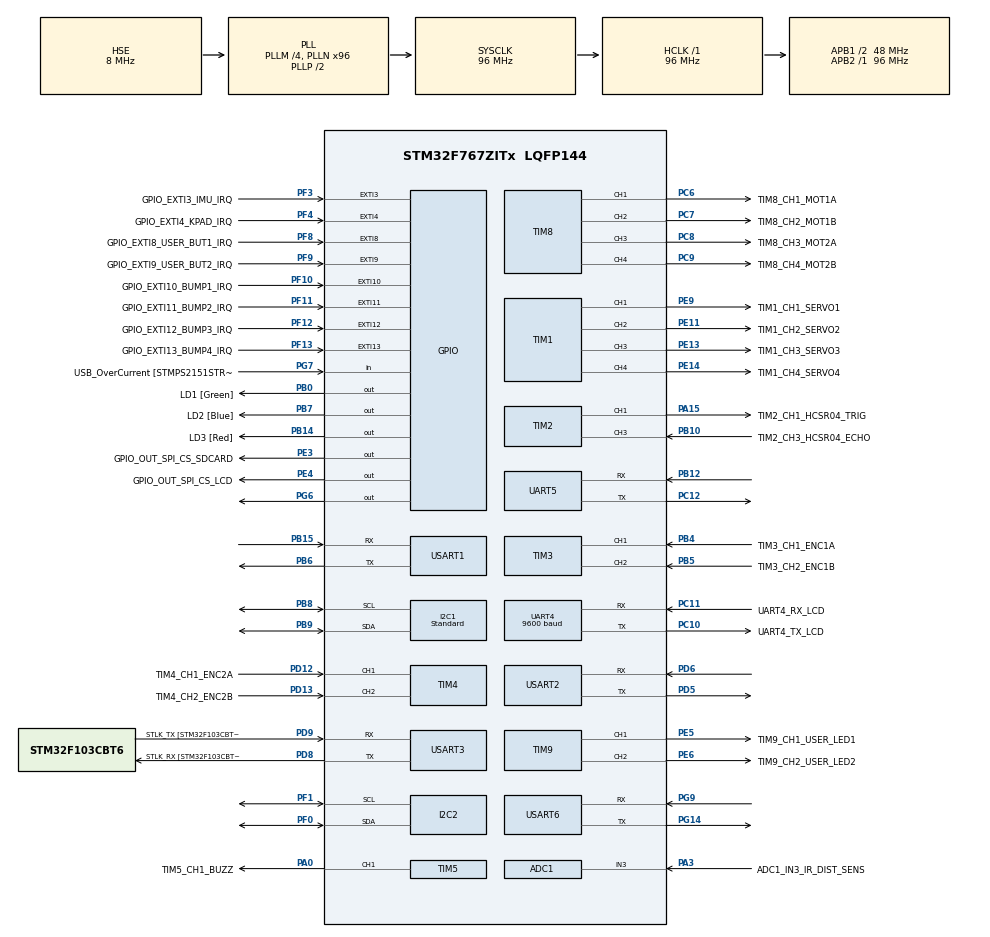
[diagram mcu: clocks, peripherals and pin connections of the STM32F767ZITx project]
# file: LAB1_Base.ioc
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ADC1.Channel-1\#ChannelRegularConversion=ADC_CHANNEL_3
ADC1.NbrOfConversionFlag=1
ADC1.Rank-1\#ChannelRegularConversion=1
ADC1.SamplingTime-1\#ChannelRegularConversion=ADC_SAMPLETIME_3CYCLES
ADC1.master=1
I2C1.I2C_Speed_Mode=I2C_Standard
I2C1.Timing=0x20303E5D
I2C2.Timing=0x20303E5D
Mcu.Family=STM32F7
Mcu.Name=STM32F767ZITx
Mcu.Package=LQFP144
Mcu.UserConstants=TIM8_PSC_VALUE,959;TIM8_ARR_VALUE,400;TIM1_PSC_VALUE,959;TIM1_ARR_VALUE,200
NVIC.EXTI4_IRQn=true\:1\:0\:true\:false\:true\:true\:true\:true
NVIC.PriorityGroup=NVIC_PRIORITYGROUP_4
PA0/WKUP.GPIO_Label=TIM5_CH1_BUZZ
PA0/WKUP.Signal=S_TIM5_CH1
PA1.GPIO_Label=RMII_REF_CLK [LAN8742A-CZ-TR_REFCLK0]
PA1.Signal=ETH_REF_CLK
PA10.GPIO_Label=USB_ID
PA10.Signal=USB_OTG_FS_ID
PA11.GPIO_Label=USB_DM
PA11.Signal=USB_OTG_FS_DM
PA12.GPIO_Label=USB_DP
PA12.Signal=USB_OTG_FS_DP
PA13.GPIO_Label=TMS
PA13.Mode=Serial_Wire
PA13.Signal=SYS_JTMS-SWDIO
PA14.GPIO_Label=TCK
PA14.Mode=Serial_Wire
PA14.Signal=SYS_JTCK-SWCLK
PA15.GPIO_Label=TIM2_CH1_HCSR04_TRIG
PA15.Signal=S_TIM2_CH1_ETR
PA2.GPIO_Label=RMII_MDIO [LAN8742A-CZ-TR_MDIO]
PA2.Signal=ETH_MDIO
PA3.GPIO_Label=ADC1_IN3_IR_DIST_SENS
PA3.Signal=ADCx_IN3
PA7.GPIO_Label=RMII_CRS_DV [LAN8742A-CZ-TR_CRS_DV]
PA7.Signal=ETH_CRS_DV
PA8.GPIO_Label=USB_SOF [TP1]
PA8.Signal=USB_OTG_FS_SOF
PA9.GPIO_Label=USB_VBUS
PA9.Signal=USB_OTG_FS_VBUS
PB0.GPIO_Label=LD1 [Green]
PB0.Signal=GPIO_Output
PB10.GPIO_Label=TIM2_CH3_HCSR04_ECHO
PB10.Signal=S_TIM2_CH3
PB12.Mode=Asynchronous
PB12.Signal=UART5_RX
PB13.GPIO_Label=RMII_TXD1 [LAN8742A-CZ-TR_TXD1]
PB13.Signal=ETH_TXD1
PB14.GPIO_Label=LD3 [Red]
PB14.Signal=GPIO_Output
PB15.Mode=Asynchronous
PB15.Signal=USART1_RX
PB3.GPIO_Label=SWO
PB3.Signal=SYS_JTDO-SWO
PB4.GPIO_Label=TIM3_CH1_ENC1A
PB4.Signal=S_TIM3_CH1
PB5.GPIO_Label=TIM3_CH2_ENC1B
PB5.Signal=S_TIM3_CH2
PB6.Mode=Asynchronous
PB6.Signal=USART1_TX
PB7.GPIO_Label=LD2 [Blue]
PB7.Signal=GPIO_Output
PB8.GPIO_Pu=GPIO_PULLUP
PB8.Mode=I2C
PB8.Signal=I2C1_SCL
PB9.GPIO_Pu=GPIO_PULLUP
PB9.Mode=I2C
PB9.Signal=I2C1_SDA
PC1.GPIO_Label=RMII_MDC [LAN8742A-CZ-TR_MDC]
PC1.Signal=ETH_MDC
PC10.GPIO_Label=UART4_TX_LCD
PC10.Mode=Asynchronous
PC10.Signal=UART4_TX
PC11.GPIO_Label=UART4_RX_LCD
PC11.Mode=Asynchronous
PC11.Signal=UART4_RX
PC12.Mode=Asynchronous
PC12.Signal=UART5_TX
PC14/OSC32_IN.Mode=LSE-External-Oscillator
PC14/OSC32_IN.Signal=RCC_OSC32_IN
PC15/OSC32_OUT.Mode=LSE-External-Oscillator
PC15/OSC32_OUT.Signal=RCC_OSC32_OUT
PC4.GPIO_Label=RMII_RXD0 [LAN8742A-CZ-TR_RXD0]
PC4.Signal=ETH_RXD0
PC5.GPIO_Label=RMII_RXD1 [LAN8742A-CZ-TR_RXD1]
PC5.Signal=ETH_RXD1
PC6.GPIO_Label=TIM8_CH1_MOT1A
PC6.Signal=S_TIM8_CH1
PC7.GPIO_Label=TIM8_CH2_MOT1B
PC7.Signal=S_TIM8_CH2
PC8.GPIO_Label=TIM8_CH3_MOT2A
PC8.Signal=S_TIM8_CH3
PC9.GPIO_Label=TIM8_CH4_MOT2B
PC9.Signal=S_TIM8_CH4
PD12.GPIO_Label=TIM4_CH1_ENC2A
PD12.Signal=S_TIM4_CH1
PD13.GPIO_Label=TIM4_CH2_ENC2B
PD13.Signal=S_TIM4_CH2
PD5.Mode=Asynchronous
PD5.Signal=USART2_TX
PD6.Mode=Asynchronous
PD6.Signal=USART2_RX
PD8.GPIO_Label=STLK_RX [STM32F103CBT6_PA3]
PD8.Mode=Asynchronous
PD8.Signal=USART3_TX
PD9.GPIO_Label=STLK_TX [STM32F103CBT6_PA2]
PD9.Mode=Asynchronous
PD9.Signal=USART3_RX
PE11.GPIO_Label=TIM1_CH2_SERVO2
PE11.Signal=S_TIM1_CH2
PE13.GPIO_Label=TIM1_CH3_SERVO3
PE13.Signal=S_TIM1_CH3
PE14.GPIO_Label=TIM1_CH4_SERVO4
PE14.Signal=S_TIM1_CH4
PE3.GPIO_Label=GPIO_OUT_SPI_CS_SDCARD
PE3.Signal=GPIO_Output
PE4.GPIO_Label=GPIO_OUT_SPI_CS_LCD
PE4.Signal=GPIO_Output
PE5.GPIO_Label=TIM9_CH1_USER_LED1
PE5.Signal=S_TIM9_CH1
PE6.GPIO_Label=TIM9_CH2_USER_LED2
PE6.Signal=S_TIM9_CH2
PE9.GPIO_Label=TIM1_CH1_SERVO1
PE9.Signal=S_TIM1_CH1
PF0.GPIO_Pu=GPIO_PULLUP
PF0.Mode=I2C
PF0.Signal=I2C2_SDA
PF1.GPIO_Pu=GPIO_PULLUP
PF1.Mode=I2C
PF1.Signal=I2C2_SCL
PF10.GPIO_Label=GPIO_EXTI10_BUMP1_IRQ
PF10.Signal=GPXTI10
PF11.GPIO_Label=GPIO_EXTI11_BUMP2_IRQ
PF11.Signal=GPXTI11
PF12.GPIO_Label=GPIO_EXTI12_BUMP3_IRQ
PF12.Signal=GPXTI12
PF13.GPIO_Label=GPIO_EXTI13_BUMP4_IRQ
PF13.Signal=GPXTI13
PF3.GPIO_Label=GPIO_EXTI3_IMU_IRQ
PF3.Signal=GPXTI3
PF4.GPIO_Label=GPIO_EXTI4_KPAD_IRQ
PF4.GPIO_ModeDefaultEXTI=GPIO_MODE_IT_FALLING
PF4.Signal=GPXTI4
PF8.GPIO_Label=GPIO_EXTI8_USER_BUT1_IRQ
PF8.Signal=GPXTI8
PF9.GPIO_Label=GPIO_EXTI9_USER_BUT2_IRQ
PF9.Signal=GPXTI9
PG11.GPIO_Label=RMII_TX_EN [LAN8742A-CZ-TR_TXEN]
PG11.Signal=ETH_TX_EN
PG13.GPIO_Label=RMII_TXD0 [LAN8742A-CZ-TR_TXD0]
PG13.Signal=ETH_TXD0
PG14.Mode=Asynchronous
PG14.Signal=USART6_TX
PG6.Signal=GPIO_Output
PG7.GPIO_Label=USB_OverCurrent [STMPS2151STR_FAULT]
PG7.Signal=GPIO_Input
PG9.Mode=Asynchronous
PG9.Signal=USART6_RX
PH0/OSC_IN.GPIO_Label=MCO [STM32F103CBT6_PA8]
PH0/OSC_IN.Mode=HSE-External-Clock-Source
PH0/OSC_IN.Signal=RCC_OSC_IN
PH1/OSC_OUT.Mode=HSE-External-Clock-Source
PH1/OSC_OUT.Signal=RCC_OSC_OUT
ProjectManager.HeapSize=0x200
ProjectManager.StackSize=0x400
ProjectManager.TargetToolchain=STM32CubeIDE
RCC.48MHZClocksFreq_Value=24000000
RCC.AHBFreq_Value=96000000
RCC.APB1CLKDivider=RCC_HCLK_DIV2
RCC.APB1Freq_Value=48000000
RCC.APB1TimFreq_Value=96000000
RCC.APB2Freq_Value=96000000
RCC.APB2TimFreq_Value=96000000
RCC.CortexFreq_Value=96000000
RCC.HCLKFreq_Value=96000000
RCC.HSE_VALUE=8000000
RCC.HSI_VALUE=16000000
RCC.PLLM=4
RCC.PLLMUL=RCC_PLL_MUL9
RCC.PLLN=96
RCC.PLLQ=4
RCC.PLLSourceVirtual=RCC_PLLSOURCE_HSE
RCC.PRESCALERUSB=RCC_USBCLKSOURCE_PLL_DIV1_5
RCC.SYSCLKFreq_VALUE=96000000
RCC.SYSCLKSource=RCC_SYSCLKSOURCE_PLLCLK
RCC.SYSCLKSourceVirtual=RCC_SYSCLKSOURCE_PLLCLK
RCC.USBFreq_Value=48000000
RCC.VCOOutputFreq_Value=192000000
SH.ADCx_IN3.0=ADC1_IN3,IN3
SH.S_TIM1_CH1.0=TIM1_CH1,PWM Generation1 CH1
SH.S_TIM1_CH2.0=TIM1_CH2,PWM Generation2 CH2
SH.S_TIM1_CH3.0=TIM1_CH3,PWM Generation3 CH3
SH.S_TIM1_CH4.0=TIM1_CH4,PWM Generation4 CH4
SH.S_TIM2_CH1_ETR.0=TIM2_CH1,PWM Generation1 CH1
SH.S_TIM2_CH3.0=TIM2_CH3,Input_Capture3_from_TI3
SH.S_TIM3_CH1.0=TIM3_CH1,Encoder_Interface
SH.S_TIM3_CH2.0=TIM3_CH2,Encoder_Interface
SH.S_TIM4_CH1.0=TIM4_CH1,Encoder_Interface
SH.S_TIM4_CH2.0=TIM4_CH2,Encoder_Interface
SH.S_TIM5_CH1.0=TIM5_CH1,PWM Generation1 CH1
SH.S_TIM8_CH1.0=TIM8_CH1,PWM Generation1 CH1
SH.S_TIM8_CH2.0=TIM8_CH2,PWM Generation2 CH2
SH.S_TIM8_CH3.0=TIM8_CH3,PWM Generation3 CH3
SH.S_TIM8_CH4.0=TIM8_CH4,PWM Generation4 CH4
SH.S_TIM9_CH1.0=TIM9_CH1,PWM Generation1 CH1
SH.S_TIM9_CH2.0=TIM9_CH2,PWM Generation2 CH2
TIM1.Channel-PWM\ Generation1\ CH1=TIM_CHANNEL_1
TIM1.Channel-PWM\ Generation2\ CH2=TIM_CHANNEL_2
TIM1.Channel-PWM\ Generation3\ CH3=TIM_CHANNEL_3
TIM1.Channel-PWM\ Generation4\ CH4=TIM_CHANNEL_4
TIM1.Period=TIM1_ARR_VALUE
TIM1.Prescaler=TIM1_PSC_VALUE
TIM2.Channel-Input_Capture3_from_TI3=TIM_CHANNEL_3
TIM2.Channel-PWM\ Generation1\ CH1=TIM_CHANNEL_1
TIM5.Channel-PWM\ Generation1\ CH1=TIM_CHANNEL_1
TIM8.Channel-PWM\ Generation1\ CH1=TIM_CHANNEL_1
TIM8.Channel-PWM\ Generation2\ CH2=TIM_CHANNEL_2
TIM8.Channel-PWM\ Generation3\ CH3=TIM_CHANNEL_3
TIM8.Channel-PWM\ Generation4\ CH4=TIM_CHANNEL_4
TIM8.Period=TIM8_ARR_VALUE
TIM8.Prescaler=TIM8_PSC_VALUE
TIM9.Channel-PWM\ Generation1\ CH1=TIM_CHANNEL_1
TIM9.Channel-PWM\ Generation2\ CH2=TIM_CHANNEL_2
UART4.BaudRate=9600
USART1.VirtualMode-Asynchronous=VM_ASYNC
USART2.VirtualMode-Asynchronous=VM_ASYNC
USART3.VirtualMode-Asynchronous=VM_ASYNC
USART6.VirtualMode-Asynchronous=VM_ASYNC
VP_TIM1_VS_ClockSourceINT.Mode=Internal
VP_TIM2_VS_ClockSourceINT.Mode=Internal
VP_TIM5_VS_ClockSourceINT.Mode=Internal
VP_TIM8_VS_ClockSourceINT.Mode=Internal
board=NUCLEO-F767ZI

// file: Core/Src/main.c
/* USER CODE BEGIN Header */
/**
 ******************************************************************************
 * @file           : main.c
 * @brief          : Main program body
 ******************************************************************************
 * @attention
 *
 * <h2><center>&copy; Copyright (c) 2021 STMicroelectronics.
 * All rights reserved.</center></h2>
 *
 * This software component is licensed by ST under BSD 3-Clause license,
 * the "License"; You may not use this file except in compliance with the
 * License. You may obtain a copy of the License at:
 *                        opensource.org/licenses/BSD-3-Clause
 *
 ******************************************************************************
 */
/* USER CODE END Header */
#include "main.h"

/* USER CODE BEGIN Includes */

/*** NEEDED FOR ENABLING PRINTF ***/
#include <stdio.h>
#include <string.h>
#include "print_utils.h"

/*** NEEDED FOR COMMUNICATING WITH THE SX1509 ***/
#include "SX1509_Registers.h"
#include "SX1509_Utils.h"
/* USER CODE END Includes */

ADC_HandleTypeDef hadc1;

I2C_HandleTypeDef hi2c1;
I2C_HandleTypeDef hi2c2;

TIM_HandleTypeDef htim1;
TIM_HandleTypeDef htim2;
TIM_HandleTypeDef htim3;
TIM_HandleTypeDef htim4;
TIM_HandleTypeDef htim5;
TIM_HandleTypeDef htim8;
TIM_HandleTypeDef htim9;

UART_HandleTypeDef huart4;
UART_HandleTypeDef huart5;
UART_HandleTypeDef huart1;
UART_HandleTypeDef huart2;
UART_HandleTypeDef huart3;
UART_HandleTypeDef huart6;

/* USER CODE BEGIN PV */
const char keypadLayout[4][4] = {
    {'*', '0', '#', 'D'},
    {'7', '8', '9', 'C'},
    {'4', '5', '6', 'B'},
    {'1', '2', '3', 'A'}};
/* USER CODE END PV */

void SystemClock_Config(void);
static void MX_GPIO_Init(void);
static void MX_USART3_UART_Init(void);
static void MX_ADC1_Init(void);
static void MX_I2C1_Init(void);
static void MX_I2C2_Init(void);
static void MX_TIM1_Init(void);
static void MX_TIM2_Init(void);
static void MX_TIM3_Init(void);
static void MX_TIM4_Init(void);
static void MX_TIM5_Init(void);
static void MX_TIM8_Init(void);
static void MX_UART4_Init(void);
static void MX_UART5_Init(void);
static void MX_USART1_UART_Init(void);
static void MX_USART2_UART_Init(void);
static void MX_TIM9_Init(void);
static void MX_USART6_UART_Init(void);

/* USER CODE BEGIN 0 */

uint8_t data_col;
uint8_t data_row;

void HAL_GPIO_EXTI_Callback(uint16_t GPIO_Pin)
{
	printf("Interrupt on pin (%d).\n", GPIO_Pin);

	if (GPIO_Pin == GPIO_PIN_4)
	{
    /* Keypad interrupt */
    /**
     * Here you need to read REG_KEY_DATA_1 (status of the column of the keypad) and REG_KEY_DATA_2 (status of the row of the keypad).
     * The addresses of the register are defined in the SX1509_Registers.h file.
     * If you don't read the registers, the interrupt will be NOT triggered again.
     * For an example of how to read/write the registers, see the Init_SX1509 function in the SX1509_Utils.h file.
     */
		HAL_I2C_Mem_Read(
				&hi2c1,
				SX1509_I2C_ADDR2<<1,
				REG_KEY_DATA_1,
				1,
				&data_col,
				1,
				I2C_TIMEOUT
		);

		HAL_I2C_Mem_Read(
				&hi2c1,
				SX1509_I2C_ADDR2<<1,
				REG_KEY_DATA_2,
				1,
				&data_row,
				1,
				I2C_TIMEOUT
		);
	  printf("REG_KEY_DATA_1: %u | REG_KEY_DATA_2: %u\n", data_col, data_row);
	}
	/* Cols and Rows initialization is different wrt handouts ( '*' is 254,254, diag goes from '*' to 'A')
}

/* USER CODE END 0 */

int main(void)
{

  /* MCU Configuration--------------------------------------------------------*/

  /* Reset of all peripherals, Initializes the Flash interface and the Systick. */
  HAL_Init();

  /* Configure the system clock */
  SystemClock_Config();

  /* Initialize all configured peripherals */
  MX_GPIO_Init();
  MX_USART3_UART_Init();
  MX_ADC1_Init();
  MX_I2C1_Init();
  MX_I2C2_Init();
  MX_TIM1_Init();
  MX_TIM2_Init();
  MX_TIM3_Init();
  MX_TIM4_Init();
  MX_TIM5_Init();
  MX_TIM8_Init();
  MX_UART4_Init();
  MX_UART5_Init();
  MX_USART1_UART_Init();
  MX_USART2_UART_Init();
  MX_TIM9_Init();
  MX_USART6_UART_Init();
  /* USER CODE BEGIN 2 */

  /* Disable LCD SPI SS */
  HAL_GPIO_WritePin(GPIO_OUT_SPI_CS_LCD_GPIO_Port, GPIO_OUT_SPI_CS_LCD_Pin, GPIO_PIN_SET);

  Init_SX1509();

  printf("Ready\n");

  /* USER CODE END 2 */

  /* Infinite loop */
  while (1)
  {

  }
}

void SystemClock_Config(void)
{
  RCC_OscInitTypeDef RCC_OscInitStruct = {0};
  RCC_ClkInitTypeDef RCC_ClkInitStruct = {0};

  /** Configure LSE Drive Capability
  */
  HAL_PWR_EnableBkUpAccess();

  /** Configure the main internal regulator output voltage
  */
  __HAL_RCC_PWR_CLK_ENABLE();
  __HAL_PWR_VOLTAGESCALING_CONFIG(PWR_REGULATOR_VOLTAGE_SCALE3);

  /** Initializes the RCC Oscillators according to the specified parameters
  * in the RCC_OscInitTypeDef structure.
  */
  RCC_OscInitStruct.OscillatorType = RCC_OSCILLATORTYPE_HSE;
  RCC_OscInitStruct.HSEState = RCC_HSE_BYPASS;
  RCC_OscInitStruct.PLL.PLLState = RCC_PLL_ON;
  RCC_OscInitStruct.PLL.PLLSource = RCC_PLLSOURCE_HSE;
  RCC_OscInitStruct.PLL.PLLM = 4;
  RCC_OscInitStruct.PLL.PLLN = 96;
  RCC_OscInitStruct.PLL.PLLP = RCC_PLLP_DIV2;
  RCC_OscInitStruct.PLL.PLLQ = 4;
  RCC_OscInitStruct.PLL.PLLR = 2;
  if (HAL_RCC_OscConfig(&RCC_OscInitStruct) != HAL_OK)
  {
    Error_Handler();
  }

  /** Activate the Over-Drive mode
  */
  if (HAL_PWREx_EnableOverDrive() != HAL_OK)
  {
    Error_Handler();
  }

  /** Initializes the CPU, AHB and APB buses clocks
  */
  RCC_ClkInitStruct.ClockType = RCC_CLOCKTYPE_HCLK|RCC_CLOCKTYPE_SYSCLK
                              |RCC_CLOCKTYPE_PCLK1|RCC_CLOCKTYPE_PCLK2;
  RCC_ClkInitStruct.SYSCLKSource = RCC_SYSCLKSOURCE_PLLCLK;
  RCC_ClkInitStruct.AHBCLKDivider = RCC_SYSCLK_DIV1;
  RCC_ClkInitStruct.APB1CLKDivider = RCC_HCLK_DIV2;
  RCC_ClkInitStruct.APB2CLKDivider = RCC_HCLK_DIV1;

  if (HAL_RCC_ClockConfig(&RCC_ClkInitStruct, FLASH_LATENCY_3) != HAL_OK)
  {
    Error_Handler();
  }
}

static void MX_ADC1_Init(void)
{

  ADC_ChannelConfTypeDef sConfig = {0};

  /** Configure the global features of the ADC (Clock, Resolution, Data Alignment and number of conversion)
  */
  hadc1.Instance = ADC1;
  hadc1.Init.ClockPrescaler = ADC_CLOCK_SYNC_PCLK_DIV4;
  hadc1.Init.Resolution = ADC_RESOLUTION_12B;
  hadc1.Init.ScanConvMode = ADC_SCAN_DISABLE;
  hadc1.Init.ContinuousConvMode = DISABLE;
  hadc1.Init.DiscontinuousConvMode = DISABLE;
  hadc1.Init.ExternalTrigConvEdge = ADC_EXTERNALTRIGCONVEDGE_NONE;
  hadc1.Init.ExternalTrigConv = ADC_SOFTWARE_START;
  hadc1.Init.DataAlign = ADC_DATAALIGN_RIGHT;
  hadc1.Init.NbrOfConversion = 1;
  hadc1.Init.DMAContinuousRequests = DISABLE;
  hadc1.Init.EOCSelection = ADC_EOC_SINGLE_CONV;
  if (HAL_ADC_Init(&hadc1) != HAL_OK)
  {
    Error_Handler();
  }

  /** Configure for the selected ADC regular channel its corresponding rank in the sequencer and its sample time.
  */
  sConfig.Channel = ADC_CHANNEL_3;
  sConfig.Rank = ADC_REGULAR_RANK_1;
  sConfig.SamplingTime = ADC_SAMPLETIME_3CYCLES;
  if (HAL_ADC_ConfigChannel(&hadc1, &sConfig) != HAL_OK)
  {
    Error_Handler();
  }

}

static void MX_I2C1_Init(void)
{

  hi2c1.Instance = I2C1;
  hi2c1.Init.Timing = 0x20303E5D;
  hi2c1.Init.OwnAddress1 = 0;
  hi2c1.Init.AddressingMode = I2C_ADDRESSINGMODE_7BIT;
  hi2c1.Init.DualAddressMode = I2C_DUALADDRESS_DISABLE;
  hi2c1.Init.OwnAddress2 = 0;
  hi2c1.Init.OwnAddress2Masks = I2C_OA2_NOMASK;
  hi2c1.Init.GeneralCallMode = I2C_GENERALCALL_DISABLE;
  hi2c1.Init.NoStretchMode = I2C_NOSTRETCH_DISABLE;
  if (HAL_I2C_Init(&hi2c1) != HAL_OK)
  {
    Error_Handler();
  }

  /** Configure Analogue filter
  */
  if (HAL_I2CEx_ConfigAnalogFilter(&hi2c1, I2C_ANALOGFILTER_ENABLE) != HAL_OK)
  {
    Error_Handler();
  }

  /** Configure Digital filter
  */
  if (HAL_I2CEx_ConfigDigitalFilter(&hi2c1, 0) != HAL_OK)
  {
    Error_Handler();
  }

}

static void MX_I2C2_Init(void)
{

  hi2c2.Instance = I2C2;
  hi2c2.Init.Timing = 0x20303E5D;
  hi2c2.Init.OwnAddress1 = 0;
  hi2c2.Init.AddressingMode = I2C_ADDRESSINGMODE_7BIT;
  hi2c2.Init.DualAddressMode = I2C_DUALADDRESS_DISABLE;
  hi2c2.Init.OwnAddress2 = 0;
  hi2c2.Init.OwnAddress2Masks = I2C_OA2_NOMASK;
  hi2c2.Init.GeneralCallMode = I2C_GENERALCALL_DISABLE;
  hi2c2.Init.NoStretchMode = I2C_NOSTRETCH_DISABLE;
  if (HAL_I2C_Init(&hi2c2) != HAL_OK)
  {
    Error_Handler();
  }

  /** Configure Analogue filter
  */
  if (HAL_I2CEx_ConfigAnalogFilter(&hi2c2, I2C_ANALOGFILTER_ENABLE) != HAL_OK)
  {
    Error_Handler();
  }

  /** Configure Digital filter
  */
  if (HAL_I2CEx_ConfigDigitalFilter(&hi2c2, 0) != HAL_OK)
  {
    Error_Handler();
  }

}

static void MX_TIM1_Init(void)
{

  TIM_ClockConfigTypeDef sClockSourceConfig = {0};
  TIM_MasterConfigTypeDef sMasterConfig = {0};
  TIM_OC_InitTypeDef sConfigOC = {0};
  TIM_BreakDeadTimeConfigTypeDef sBreakDeadTimeConfig = {0};

  htim1.Instance = TIM1;
  htim1.Init.Prescaler = TIM1_PSC_VALUE;
  htim1.Init.CounterMode = TIM_COUNTERMODE_UP;
  htim1.Init.Period = TIM1_ARR_VALUE;
  htim1.Init.ClockDivision = TIM_CLOCKDIVISION_DIV1;
  htim1.Init.RepetitionCounter = 0;
  htim1.Init.AutoReloadPreload = TIM_AUTORELOAD_PRELOAD_DISABLE;
  if (HAL_TIM_Base_Init(&htim1) != HAL_OK)
  {
    Error_Handler();
  }
  sClockSourceConfig.ClockSource = TIM_CLOCKSOURCE_INTERNAL;
  if (HAL_TIM_ConfigClockSource(&htim1, &sClockSourceConfig) != HAL_OK)
  {
    Error_Handler();
  }
  if (HAL_TIM_PWM_Init(&htim1) != HAL_OK)
  {
    Error_Handler();
  }
  sMasterConfig.MasterOutputTrigger = TIM_TRGO_RESET;
  sMasterConfig.MasterOutputTrigger2 = TIM_TRGO2_RESET;
  sMasterConfig.MasterSlaveMode = TIM_MASTERSLAVEMODE_DISABLE;
  if (HAL_TIMEx_MasterConfigSynchronization(&htim1, &sMasterConfig) != HAL_OK)
  {
    Error_Handler();
  }
  sConfigOC.OCMode = TIM_OCMODE_PWM1;
  sConfigOC.Pulse = 0;
  sConfigOC.OCPolarity = TIM_OCPOLARITY_HIGH;
  sConfigOC.OCNPolarity = TIM_OCNPOLARITY_HIGH;
  sConfigOC.OCFastMode = TIM_OCFAST_DISABLE;
  sConfigOC.OCIdleState = TIM_OCIDLESTATE_RESET;
  sConfigOC.OCNIdleState = TIM_OCNIDLESTATE_RESET;
  if (HAL_TIM_PWM_ConfigChannel(&htim1, &sConfigOC, TIM_CHANNEL_1) != HAL_OK)
  {
    Error_Handler();
  }
  if (HAL_TIM_PWM_ConfigChannel(&htim1, &sConfigOC, TIM_CHANNEL_2) != HAL_OK)
  {
    Error_Handler();
  }
  if (HAL_TIM_PWM_ConfigChannel(&htim1, &sConfigOC, TIM_CHANNEL_3) != HAL_OK)
  {
    Error_Handler();
  }
  if (HAL_TIM_PWM_ConfigChannel(&htim1, &sConfigOC, TIM_CHANNEL_4) != HAL_OK)
  {
    Error_Handler();
  }
  sBreakDeadTimeConfig.OffStateRunMode = TIM_OSSR_DISABLE;
  sBreakDeadTimeConfig.OffStateIDLEMode = TIM_OSSI_DISABLE;
  sBreakDeadTimeConfig.LockLevel = TIM_LOCKLEVEL_OFF;
  sBreakDeadTimeConfig.DeadTime = 0;
  sBreakDeadTimeConfig.BreakState = TIM_BREAK_DISABLE;
  sBreakDeadTimeConfig.BreakPolarity = TIM_BREAKPOLARITY_HIGH;
  sBreakDeadTimeConfig.BreakFilter = 0;
  sBreakDeadTimeConfig.Break2State = TIM_BREAK2_DISABLE;
  sBreakDeadTimeConfig.Break2Polarity = TIM_BREAK2POLARITY_HIGH;
  sBreakDeadTimeConfig.Break2Filter = 0;
  sBreakDeadTimeConfig.AutomaticOutput = TIM_AUTOMATICOUTPUT_DISABLE;
  if (HAL_TIMEx_ConfigBreakDeadTime(&htim1, &sBreakDeadTimeConfig) != HAL_OK)
  {
    Error_Handler();
  }
  HAL_TIM_MspPostInit(&htim1);

}

static void MX_TIM2_Init(void)
{

  TIM_ClockConfigTypeDef sClockSourceConfig = {0};
  TIM_MasterConfigTypeDef sMasterConfig = {0};
  TIM_OC_InitTypeDef sConfigOC = {0};
  TIM_IC_InitTypeDef sConfigIC = {0};

  htim2.Instance = TIM2;
  htim2.Init.Prescaler = 0;
  htim2.Init.CounterMode = TIM_COUNTERMODE_UP;
  htim2.Init.Period = 4294967295;
  htim2.Init.ClockDivision = TIM_CLOCKDIVISION_DIV1;
  htim2.Init.AutoReloadPreload = TIM_AUTORELOAD_PRELOAD_DISABLE;
  if (HAL_TIM_Base_Init(&htim2) != HAL_OK)
  {
    Error_Handler();
  }
  sClockSourceConfig.ClockSource = TIM_CLOCKSOURCE_INTERNAL;
  if (HAL_TIM_ConfigClockSource(&htim2, &sClockSourceConfig) != HAL_OK)
  {
    Error_Handler();
  }
  if (HAL_TIM_PWM_Init(&htim2) != HAL_OK)
  {
    Error_Handler();
  }
  if (HAL_TIM_IC_Init(&htim2) != HAL_OK)
  {
    Error_Handler();
  }
  sMasterConfig.MasterOutputTrigger = TIM_TRGO_RESET;
  sMasterConfig.MasterSlaveMode = TIM_MASTERSLAVEMODE_DISABLE;
  if (HAL_TIMEx_MasterConfigSynchronization(&htim2, &sMasterConfig) != HAL_OK)
  {
    Error_Handler();
  }
  sConfigOC.OCMode = TIM_OCMODE_PWM1;
  sConfigOC.Pulse = 0;
  sConfigOC.OCPolarity = TIM_OCPOLARITY_HIGH;
  sConfigOC.OCFastMode = TIM_OCFAST_DISABLE;
  if (HAL_TIM_PWM_ConfigChannel(&htim2, &sConfigOC, TIM_CHANNEL_1) != HAL_OK)
  {
    Error_Handler();
  }
  sConfigIC.ICPolarity = TIM_INPUTCHANNELPOLARITY_RISING;
  sConfigIC.ICSelection = TIM_ICSELECTION_DIRECTTI;
  sConfigIC.ICPrescaler = TIM_ICPSC_DIV1;
  sConfigIC.ICFilter = 0;
  if (HAL_TIM_IC_ConfigChannel(&htim2, &sConfigIC, TIM_CHANNEL_3) != HAL_OK)
  {
    Error_Handler();
  }
  HAL_TIM_MspPostInit(&htim2);

}

static void MX_TIM3_Init(void)
{

  TIM_Encoder_InitTypeDef sConfig = {0};
  TIM_MasterConfigTypeDef sMasterConfig = {0};

  htim3.Instance = TIM3;
  htim3.Init.Prescaler = 0;
  htim3.Init.CounterMode = TIM_COUNTERMODE_UP;
  htim3.Init.Period = 65535;
  htim3.Init.ClockDivision = TIM_CLOCKDIVISION_DIV1;
  htim3.Init.AutoReloadPreload = TIM_AUTORELOAD_PRELOAD_DISABLE;
  sConfig.EncoderMode = TIM_ENCODERMODE_TI1;
  sConfig.IC1Polarity = TIM_ICPOLARITY_RISING;
  sConfig.IC1Selection = TIM_ICSELECTION_DIRECTTI;
  sConfig.IC1Prescaler = TIM_ICPSC_DIV1;
  sConfig.IC1Filter = 0;
  sConfig.IC2Polarity = TIM_ICPOLARITY_RISING;
  sConfig.IC2Selection = TIM_ICSELECTION_DIRECTTI;
  sConfig.IC2Prescaler = TIM_ICPSC_DIV1;
  sConfig.IC2Filter = 0;
  if (HAL_TIM_Encoder_Init(&htim3, &sConfig) != HAL_OK)
  {
    Error_Handler();
  }
  sMasterConfig.MasterOutputTrigger = TIM_TRGO_RESET;
  sMasterConfig.MasterSlaveMode = TIM_MASTERSLAVEMODE_DISABLE;
  if (HAL_TIMEx_MasterConfigSynchronization(&htim3, &sMasterConfig) != HAL_OK)
  {
    Error_Handler();
  }

}

static void MX_TIM4_Init(void)
{

  TIM_Encoder_InitTypeDef sConfig = {0};
  TIM_MasterConfigTypeDef sMasterConfig = {0};

  htim4.Instance = TIM4;
  htim4.Init.Prescaler = 0;
  htim4.Init.CounterMode = TIM_COUNTERMODE_UP;
  htim4.Init.Period = 65535;
  htim4.Init.ClockDivision = TIM_CLOCKDIVISION_DIV1;
  htim4.Init.AutoReloadPreload = TIM_AUTORELOAD_PRELOAD_DISABLE;
  sConfig.EncoderMode = TIM_ENCODERMODE_TI1;
  sConfig.IC1Polarity = TIM_ICPOLARITY_RISING;
  sConfig.IC1Selection = TIM_ICSELECTION_DIRECTTI;
  sConfig.IC1Prescaler = TIM_ICPSC_DIV1;
  sConfig.IC1Filter = 0;
  sConfig.IC2Polarity = TIM_ICPOLARITY_RISING;
  sConfig.IC2Selection = TIM_ICSELECTION_DIRECTTI;
  sConfig.IC2Prescaler = TIM_ICPSC_DIV1;
  sConfig.IC2Filter = 0;
  if (HAL_TIM_Encoder_Init(&htim4, &sConfig) != HAL_OK)
  {
    Error_Handler();
  }
  sMasterConfig.MasterOutputTrigger = TIM_TRGO_RESET;
  sMasterConfig.MasterSlaveMode = TIM_MASTERSLAVEMODE_DISABLE;
  if (HAL_TIMEx_MasterConfigSynchronization(&htim4, &sMasterConfig) != HAL_OK)
  {
    Error_Handler();
  }

}

static void MX_TIM5_Init(void)
{

  TIM_ClockConfigTypeDef sClockSourceConfig = {0};
  TIM_MasterConfigTypeDef sMasterConfig = {0};
  TIM_OC_InitTypeDef sConfigOC = {0};

  htim5.Instance = TIM5;
  htim5.Init.Prescaler = 0;
  htim5.Init.CounterMode = TIM_COUNTERMODE_UP;
  htim5.Init.Period = 4294967295;
  htim5.Init.ClockDivision = TIM_CLOCKDIVISION_DIV1;
  htim5.Init.AutoReloadPreload = TIM_AUTORELOAD_PRELOAD_DISABLE;
  if (HAL_TIM_Base_Init(&htim5) != HAL_OK)
  {
    Error_Handler();
  }
  sClockSourceConfig.ClockSource = TIM_CLOCKSOURCE_INTERNAL;
  if (HAL_TIM_ConfigClockSource(&htim5, &sClockSourceConfig) != HAL_OK)
  {
    Error_Handler();
  }
  if (HAL_TIM_PWM_Init(&htim5) != HAL_OK)
  {
    Error_Handler();
  }
  sMasterConfig.MasterOutputTrigger = TIM_TRGO_RESET;
  sMasterConfig.MasterSlaveMode = TIM_MASTERSLAVEMODE_DISABLE;
  if (HAL_TIMEx_MasterConfigSynchronization(&htim5, &sMasterConfig) != HAL_OK)
  {
    Error_Handler();
  }
  sConfigOC.OCMode = TIM_OCMODE_PWM1;
  sConfigOC.Pulse = 0;
  sConfigOC.OCPolarity = TIM_OCPOLARITY_HIGH;
  sConfigOC.OCFastMode = TIM_OCFAST_DISABLE;
  if (HAL_TIM_PWM_ConfigChannel(&htim5, &sConfigOC, TIM_CHANNEL_1) != HAL_OK)
  {
    Error_Handler();
  }
  HAL_TIM_MspPostInit(&htim5);

}

static void MX_TIM8_Init(void)
{

  TIM_ClockConfigTypeDef sClockSourceConfig = {0};
  TIM_MasterConfigTypeDef sMasterConfig = {0};
  TIM_OC_InitTypeDef sConfigOC = {0};
  TIM_BreakDeadTimeConfigTypeDef sBreakDeadTimeConfig = {0};

  htim8.Instance = TIM8;
  htim8.Init.Prescaler = TIM8_PSC_VALUE;
  htim8.Init.CounterMode = TIM_COUNTERMODE_UP;
  htim8.Init.Period = TIM8_ARR_VALUE;
  htim8.Init.ClockDivision = TIM_CLOCKDIVISION_DIV1;
  htim8.Init.RepetitionCounter = 0;
  htim8.Init.AutoReloadPreload = TIM_AUTORELOAD_PRELOAD_DISABLE;
  if (HAL_TIM_Base_Init(&htim8) != HAL_OK)
  {
    Error_Handler();
  }
  sClockSourceConfig.ClockSource = TIM_CLOCKSOURCE_INTERNAL;
  if (HAL_TIM_ConfigClockSource(&htim8, &sClockSourceConfig) != HAL_OK)
  {
    Error_Handler();
  }
  if (HAL_TIM_PWM_Init(&htim8) != HAL_OK)
  {
    Error_Handler();
  }
  sMasterConfig.MasterOutputTrigger = TIM_TRGO_RESET;
  sMasterConfig.MasterOutputTrigger2 = TIM_TRGO2_RESET;
  sMasterConfig.MasterSlaveMode = TIM_MASTERSLAVEMODE_DISABLE;
  if (HAL_TIMEx_MasterConfigSynchronization(&htim8, &sMasterConfig) != HAL_OK)
  {
    Error_Handler();
  }
  sConfigOC.OCMode = TIM_OCMODE_PWM1;
  sConfigOC.Pulse = 0;
  sConfigOC.OCPolarity = TIM_OCPOLARITY_HIGH;
  sConfigOC.OCNPolarity = TIM_OCNPOLARITY_HIGH;
  sConfigOC.OCFastMode = TIM_OCFAST_DISABLE;
  sConfigOC.OCIdleState = TIM_OCIDLESTATE_RESET;
  sConfigOC.OCNIdleState = TIM_OCNIDLESTATE_RESET;
  if (HAL_TIM_PWM_ConfigChannel(&htim8, &sConfigOC, TIM_CHANNEL_1) != HAL_OK)
  {
    Error_Handler();
  }
  if (HAL_TIM_PWM_ConfigChannel(&htim8, &sConfigOC, TIM_CHANNEL_2) != HAL_OK)
  {
    Error_Handler();
  }
  if (HAL_TIM_PWM_ConfigChannel(&htim8, &sConfigOC, TIM_CHANNEL_3) != HAL_OK)
  {
    Error_Handler();
  }
  if (HAL_TIM_PWM_ConfigChannel(&htim8, &sConfigOC, TIM_CHANNEL_4) != HAL_OK)
  {
    Error_Handler();
  }
  sBreakDeadTimeConfig.OffStateRunMode = TIM_OSSR_DISABLE;
  sBreakDeadTimeConfig.OffStateIDLEMode = TIM_OSSI_DISABLE;
  sBreakDeadTimeConfig.LockLevel = TIM_LOCKLEVEL_OFF;
  sBreakDeadTimeConfig.DeadTime = 0;
  sBreakDeadTimeConfig.BreakState = TIM_BREAK_DISABLE;
  sBreakDeadTimeConfig.BreakPolarity = TIM_BREAKPOLARITY_HIGH;
  sBreakDeadTimeConfig.BreakFilter = 0;
  sBreakDeadTimeConfig.Break2State = TIM_BREAK2_DISABLE;
  sBreakDeadTimeConfig.Break2Polarity = TIM_BREAK2POLARITY_HIGH;
  sBreakDeadTimeConfig.Break2Filter = 0;
  sBreakDeadTimeConfig.AutomaticOutput = TIM_AUTOMATICOUTPUT_DISABLE;
  if (HAL_TIMEx_ConfigBreakDeadTime(&htim8, &sBreakDeadTimeConfig) != HAL_OK)
  {
    Error_Handler();
  }
  HAL_TIM_MspPostInit(&htim8);

}

static void MX_TIM9_Init(void)
{

  TIM_OC_InitTypeDef sConfigOC = {0};

  htim9.Instance = TIM9;
  htim9.Init.Prescaler = 0;
  htim9.Init.CounterMode = TIM_COUNTERMODE_UP;
  htim9.Init.Period = 65535;
  htim9.Init.ClockDivision = TIM_CLOCKDIVISION_DIV1;
  htim9.Init.AutoReloadPreload = TIM_AUTORELOAD_PRELOAD_DISABLE;
  if (HAL_TIM_PWM_Init(&htim9) != HAL_OK)
  {
    Error_Handler();
  }
  sConfigOC.OCMode = TIM_OCMODE_PWM1;
  sConfigOC.Pulse = 0;
  sConfigOC.OCPolarity = TIM_OCPOLARITY_HIGH;
  sConfigOC.OCFastMode = TIM_OCFAST_DISABLE;
  if (HAL_TIM_PWM_ConfigChannel(&htim9, &sConfigOC, TIM_CHANNEL_1) != HAL_OK)
  {
    Error_Handler();
  }
  if (HAL_TIM_PWM_ConfigChannel(&htim9, &sConfigOC, TIM_CHANNEL_2) != HAL_OK)
  {
    Error_Handler();
  }
  HAL_TIM_MspPostInit(&htim9);

}

static void MX_UART4_Init(void)
{

  huart4.Instance = UART4;
  huart4.Init.BaudRate = 9600;
  huart4.Init.WordLength = UART_WORDLENGTH_8B;
  huart4.Init.StopBits = UART_STOPBITS_1;
  huart4.Init.Parity = UART_PARITY_NONE;
  huart4.Init.Mode = UART_MODE_TX_RX;
  huart4.Init.HwFlowCtl = UART_HWCONTROL_NONE;
  huart4.Init.OverSampling = UART_OVERSAMPLING_16;
  huart4.Init.OneBitSampling = UART_ONE_BIT_SAMPLE_DISABLE;
  huart4.AdvancedInit.AdvFeatureInit = UART_ADVFEATURE_NO_INIT;
  if (HAL_UART_Init(&huart4) != HAL_OK)
  {
    Error_Handler();
  }

}

static void MX_UART5_Init(void)
{

  huart5.Instance = UART5;
  huart5.Init.BaudRate = 115200;
  huart5.Init.WordLength = UART_WORDLENGTH_8B;
  huart5.Init.StopBits = UART_STOPBITS_1;
  huart5.Init.Parity = UART_PARITY_NONE;
  huart5.Init.Mode = UART_MODE_TX_RX;
  huart5.Init.HwFlowCtl = UART_HWCONTROL_NONE;
  huart5.Init.OverSampling = UART_OVERSAMPLING_16;
  huart5.Init.OneBitSampling = UART_ONE_BIT_SAMPLE_DISABLE;
  huart5.AdvancedInit.AdvFeatureInit = UART_ADVFEATURE_NO_INIT;
  if (HAL_UART_Init(&huart5) != HAL_OK)
  {
    Error_Handler();
  }

}

static void MX_USART1_UART_Init(void)
{

  huart1.Instance = USART1;
  huart1.Init.BaudRate = 115200;
  huart1.Init.WordLength = UART_WORDLENGTH_8B;
  huart1.Init.StopBits = UART_STOPBITS_1;
  huart1.Init.Parity = UART_PARITY_NONE;
  huart1.Init.Mode = UART_MODE_TX_RX;
  huart1.Init.HwFlowCtl = UART_HWCONTROL_NONE;
  huart1.Init.OverSampling = UART_OVERSAMPLING_16;
  huart1.Init.OneBitSampling = UART_ONE_BIT_SAMPLE_DISABLE;
  huart1.AdvancedInit.AdvFeatureInit = UART_ADVFEATURE_NO_INIT;
  if (HAL_UART_Init(&huart1) != HAL_OK)
  {
    Error_Handler();
  }

}

static void MX_USART2_UART_Init(void)
{

  huart2.Instance = USART2;
  huart2.Init.BaudRate = 115200;
  huart2.Init.WordLength = UART_WORDLENGTH_8B;
  huart2.Init.StopBits = UART_STOPBITS_1;
  huart2.Init.Parity = UART_PARITY_NONE;
  huart2.Init.Mode = UART_MODE_TX_RX;
  huart2.Init.HwFlowCtl = UART_HWCONTROL_NONE;
  huart2.Init.OverSampling = UART_OVERSAMPLING_16;
  huart2.Init.OneBitSampling = UART_ONE_BIT_SAMPLE_DISABLE;
  huart2.AdvancedInit.AdvFeatureInit = UART_ADVFEATURE_NO_INIT;
  if (HAL_UART_Init(&huart2) != HAL_OK)
  {
    Error_Handler();
  }

}

static void MX_USART3_UART_Init(void)
{

  huart3.Instance = USART3;
  huart3.Init.BaudRate = 115200;
  huart3.Init.WordLength = UART_WORDLENGTH_8B;
  huart3.Init.StopBits = UART_STOPBITS_1;
  huart3.Init.Parity = UART_PARITY_NONE;
  huart3.Init.Mode = UART_MODE_TX_RX;
  huart3.Init.HwFlowCtl = UART_HWCONTROL_NONE;
  huart3.Init.OverSampling = UART_OVERSAMPLING_16;
  huart3.Init.OneBitSampling = UART_ONE_BIT_SAMPLE_DISABLE;
  huart3.AdvancedInit.AdvFeatureInit = UART_ADVFEATURE_NO_INIT;
  if (HAL_UART_Init(&huart3) != HAL_OK)
  {
    Error_Handler();
  }

}

static void MX_USART6_UART_Init(void)
{

  huart6.Instance = USART6;
  huart6.Init.BaudRate = 115200;
  huart6.Init.WordLength = UART_WORDLENGTH_8B;
  huart6.Init.StopBits = UART_STOPBITS_1;
  huart6.Init.Parity = UART_PARITY_NONE;
  huart6.Init.Mode = UART_MODE_TX_RX;
  huart6.Init.HwFlowCtl = UART_HWCONTROL_NONE;
  huart6.Init.OverSampling = UART_OVERSAMPLING_16;
  huart6.Init.OneBitSampling = UART_ONE_BIT_SAMPLE_DISABLE;
  huart6.AdvancedInit.AdvFeatureInit = UART_ADVFEATURE_NO_INIT;
  if (HAL_UART_Init(&huart6) != HAL_OK)
  {
    Error_Handler();
  }

}

static void MX_GPIO_Init(void)
{
  GPIO_InitTypeDef GPIO_InitStruct = {0};

  /* GPIO Ports Clock Enable */
  __HAL_RCC_GPIOE_CLK_ENABLE();
  __HAL_RCC_GPIOC_CLK_ENABLE();
  __HAL_RCC_GPIOF_CLK_ENABLE();
  __HAL_RCC_GPIOH_CLK_ENABLE();
  __HAL_RCC_GPIOA_CLK_ENABLE();
  __HAL_RCC_GPIOB_CLK_ENABLE();
  __HAL_RCC_GPIOD_CLK_ENABLE();
  __HAL_RCC_GPIOG_CLK_ENABLE();

  /*Configure GPIO pin Output Level */
  HAL_GPIO_WritePin(GPIOE, GPIO_OUT_SPI_CS_SDCARD_Pin|GPIO_OUT_SPI_CS_LCD_Pin, GPIO_PIN_RESET);

  /*Configure GPIO pin Output Level */
  HAL_GPIO_WritePin(GPIOB, LD1_Pin|LD3_Pin|LD2_Pin, GPIO_PIN_RESET);

  /*Configure GPIO pin Output Level */
  HAL_GPIO_WritePin(GPIOG, GPIO_PIN_6, GPIO_PIN_RESET);

  /*Configure GPIO pins : GPIO_OUT_SPI_CS_SDCARD_Pin GPIO_OUT_SPI_CS_LCD_Pin */
  GPIO_InitStruct.Pin = GPIO_OUT_SPI_CS_SDCARD_Pin|GPIO_OUT_SPI_CS_LCD_Pin;
  GPIO_InitStruct.Mode = GPIO_MODE_OUTPUT_PP;
  GPIO_InitStruct.Pull = GPIO_NOPULL;
  GPIO_InitStruct.Speed = GPIO_SPEED_FREQ_LOW;
  HAL_GPIO_Init(GPIOE, &GPIO_InitStruct);

  /*Configure GPIO pins : GPIO_EXTI3_IMU_IRQ_Pin GPIO_EXTI8_USER_BUT1_IRQ_Pin GPIO_EXTI9_USER_BUT2_IRQ_Pin GPIO_EXTI10_BUMP1_IRQ_Pin
                           GPIO_EXTI11_BUMP2_IRQ_Pin GPIO_EXTI12_BUMP3_IRQ_Pin GPIO_EXTI13_BUMP4_IRQ_Pin */
  GPIO_InitStruct.Pin = GPIO_EXTI3_IMU_IRQ_Pin|GPIO_EXTI8_USER_BUT1_IRQ_Pin|GPIO_EXTI9_USER_BUT2_IRQ_Pin|GPIO_EXTI10_BUMP1_IRQ_Pin
                          |GPIO_EXTI11_BUMP2_IRQ_Pin|GPIO_EXTI12_BUMP3_IRQ_Pin|GPIO_EXTI13_BUMP4_IRQ_Pin;
  GPIO_InitStruct.Mode = GPIO_MODE_IT_RISING;
  GPIO_InitStruct.Pull = GPIO_NOPULL;
  HAL_GPIO_Init(GPIOF, &GPIO_InitStruct);

  /*Configure GPIO pin : GPIO_EXTI4_KPAD_IRQ_Pin */
  GPIO_InitStruct.Pin = GPIO_EXTI4_KPAD_IRQ_Pin;
  GPIO_InitStruct.Mode = GPIO_MODE_IT_FALLING;
  GPIO_InitStruct.Pull = GPIO_NOPULL;
  HAL_GPIO_Init(GPIO_EXTI4_KPAD_IRQ_GPIO_Port, &GPIO_InitStruct);

  /*Configure GPIO pins : RMII_MDC_Pin RMII_RXD0_Pin RMII_RXD1_Pin */
  GPIO_InitStruct.Pin = RMII_MDC_Pin|RMII_RXD0_Pin|RMII_RXD1_Pin;
  GPIO_InitStruct.Mode = GPIO_MODE_AF_PP;
  GPIO_InitStruct.Pull = GPIO_NOPULL;
  GPIO_InitStruct.Speed = GPIO_SPEED_FREQ_VERY_HIGH;
  GPIO_InitStruct.Alternate = GPIO_AF11_ETH;
  HAL_GPIO_Init(GPIOC, &GPIO_InitStruct);

  /*Configure GPIO pins : RMII_REF_CLK_Pin RMII_MDIO_Pin RMII_CRS_DV_Pin */
  GPIO_InitStruct.Pin = RMII_REF_CLK_Pin|RMII_MDIO_Pin|RMII_CRS_DV_Pin;
  GPIO_InitStruct.Mode = GPIO_MODE_AF_PP;
  GPIO_InitStruct.Pull = GPIO_NOPULL;
  GPIO_InitStruct.Speed = GPIO_SPEED_FREQ_VERY_HIGH;
  GPIO_InitStruct.Alternate = GPIO_AF11_ETH;
  HAL_GPIO_Init(GPIOA, &GPIO_InitStruct);

  /*Configure GPIO pins : LD1_Pin LD3_Pin LD2_Pin */
  GPIO_InitStruct.Pin = LD1_Pin|LD3_Pin|LD2_Pin;
  GPIO_InitStruct.Mode = GPIO_MODE_OUTPUT_PP;
  GPIO_InitStruct.Pull = GPIO_NOPULL;
  GPIO_InitStruct.Speed = GPIO_SPEED_FREQ_LOW;
  HAL_GPIO_Init(GPIOB, &GPIO_InitStruct);

  /*Configure GPIO pin : RMII_TXD1_Pin */
  GPIO_InitStruct.Pin = RMII_TXD1_Pin;
  GPIO_InitStruct.Mode = GPIO_MODE_AF_PP;
  GPIO_InitStruct.Pull = GPIO_NOPULL;
  GPIO_InitStruct.Speed = GPIO_SPEED_FREQ_VERY_HIGH;
  GPIO_InitStruct.Alternate = GPIO_AF11_ETH;
  HAL_GPIO_Init(RMII_TXD1_GPIO_Port, &GPIO_InitStruct);

  /*Configure GPIO pin : PG6 */
  GPIO_InitStruct.Pin = GPIO_PIN_6;
  GPIO_InitStruct.Mode = GPIO_MODE_OUTPUT_PP;
  GPIO_InitStruct.Pull = GPIO_NOPULL;
  GPIO_InitStruct.Speed = GPIO_SPEED_FREQ_LOW;
  HAL_GPIO_Init(GPIOG, &GPIO_InitStruct);

  /*Configure GPIO pin : USB_OverCurrent_Pin */
  GPIO_InitStruct.Pin = USB_OverCurrent_Pin;
  GPIO_InitStruct.Mode = GPIO_MODE_INPUT;
  GPIO_InitStruct.Pull = GPIO_NOPULL;
  HAL_GPIO_Init(USB_OverCurrent_GPIO_Port, &GPIO_InitStruct);

  /*Configure GPIO pins : USB_SOF_Pin USB_ID_Pin USB_DM_Pin USB_DP_Pin */
  GPIO_InitStruct.Pin = USB_SOF_Pin|USB_ID_Pin|USB_DM_Pin|USB_DP_Pin;
  GPIO_InitStruct.Mode = GPIO_MODE_AF_PP;
  GPIO_InitStruct.Pull = GPIO_NOPULL;
  GPIO_InitStruct.Speed = GPIO_SPEED_FREQ_VERY_HIGH;
  GPIO_InitStruct.Alternate = GPIO_AF10_OTG_FS;
  HAL_GPIO_Init(GPIOA, &GPIO_InitStruct);

  /*Configure GPIO pin : USB_VBUS_Pin */
  GPIO_InitStruct.Pin = USB_VBUS_Pin;
  GPIO_InitStruct.Mode = GPIO_MODE_INPUT;
  GPIO_InitStruct.Pull = GPIO_NOPULL;
  HAL_GPIO_Init(USB_VBUS_GPIO_Port, &GPIO_InitStruct);

  /*Configure GPIO pins : RMII_TX_EN_Pin RMII_TXD0_Pin */
  GPIO_InitStruct.Pin = RMII_TX_EN_Pin|RMII_TXD0_Pin;
  GPIO_InitStruct.Mode = GPIO_MODE_AF_PP;
  GPIO_InitStruct.Pull = GPIO_NOPULL;
  GPIO_InitStruct.Speed = GPIO_SPEED_FREQ_VERY_HIGH;
  GPIO_InitStruct.Alternate = GPIO_AF11_ETH;
  HAL_GPIO_Init(GPIOG, &GPIO_InitStruct);

  /* EXTI interrupt init*/
  HAL_NVIC_SetPriority(EXTI4_IRQn, 1, 0);
  HAL_NVIC_EnableIRQ(EXTI4_IRQn);

}

void Error_Handler(void)
{
  __disable_irq();
  while (1)
  {
  }
}
